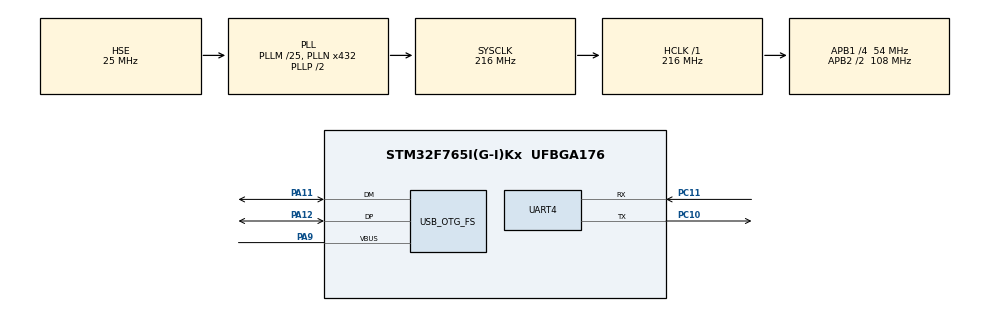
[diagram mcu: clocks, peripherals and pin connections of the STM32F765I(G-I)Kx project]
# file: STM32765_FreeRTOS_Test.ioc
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CORTEX_M7.ART_ACCELERATOR_ENABLE=0
CORTEX_M7.CPU_DCache=Disabled
CORTEX_M7.CPU_ICache=Disabled
CORTEX_M7.PREFETCH_ENABLE=0
CORTEX_M7.default_mode_Activation=0
FREERTOS.Tasks01=defaultTask,24,1024,StartDefaultTask,Default,NULL,Dynamic,NULL,NULL
FREERTOS.configCHECK_FOR_STACK_OVERFLOW=2
FREERTOS.configENABLE_BACKWARD_COMPATIBILITY=0
FREERTOS.configUSE_NEWLIB_REENTRANT=1
Mcu.Family=STM32F7
Mcu.Name=STM32F765I(G-I)Kx
Mcu.Package=UFBGA176
NVIC.OTG_FS_IRQn=true\:5\:0\:false\:false\:true\:true\:false\:true\:true
NVIC.PriorityGroup=NVIC_PRIORITYGROUP_4
NVIC.UART4_IRQn=true\:5\:0\:false\:false\:true\:true\:true\:true\:true
PA11.Mode=Device_Only
PA11.Signal=USB_OTG_FS_DM
PA12.Mode=Device_Only
PA12.Signal=USB_OTG_FS_DP
PA13.Mode=Serial_Wire
PA13.Signal=SYS_JTMS-SWDIO
PA14.Mode=Serial_Wire
PA14.Signal=SYS_JTCK-SWCLK
PA9.Mode=Activate_VBUS
PA9.Signal=USB_OTG_FS_VBUS
PC10.Mode=Asynchronous
PC10.Signal=UART4_TX
PC11.Mode=Asynchronous
PC11.Signal=UART4_RX
PH0/OSC_IN.Mode=HSE-External-Oscillator
PH0/OSC_IN.Signal=RCC_OSC_IN
PH1/OSC_OUT.Mode=HSE-External-Oscillator
PH1/OSC_OUT.Signal=RCC_OSC_OUT
ProjectManager.HeapSize=0x200
ProjectManager.StackSize=0x400
ProjectManager.TargetToolchain=STM32CubeIDE
RCC.AHBFreq_Value=216000000
RCC.APB1CLKDivider=RCC_HCLK_DIV4
RCC.APB1Freq_Value=54000000
RCC.APB1TimFreq_Value=108000000
RCC.APB2CLKDivider=RCC_HCLK_DIV2
RCC.APB2Freq_Value=108000000
RCC.APB2TimFreq_Value=216000000
RCC.CortexFreq_Value=216000000
RCC.HCLKFreq_Value=216000000
RCC.HSE_VALUE=25000000
RCC.HSI_VALUE=16000000
RCC.LSE_VALUE=32768
RCC.PLLM=25
RCC.PLLN=432
RCC.PLLQ=9
RCC.SYSCLKFreq_VALUE=216000000
RCC.SYSCLKSource=RCC_SYSCLKSOURCE_PLLCLK
RCC.USBFreq_Value=48000000
RCC.VCOOutputFreq_Value=432000000
USB_DEVICE.CLASS_NAME_FS=CDC
USB_DEVICE.VirtualMode-CDC_FS=Cdc
USB_DEVICE.VirtualModeFS=Cdc_FS
USB_OTG_FS.VirtualMode=Device_Only
VP_FREERTOS_VS_CMSIS_V2.Mode=CMSIS_V2
VP_USB_DEVICE_VS_USB_DEVICE_CDC_FS.Mode=CDC_FS
board=custom

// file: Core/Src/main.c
/* USER CODE BEGIN Header */
/**
  ******************************************************************************
  * @file           : main.c
  * @brief          : Main program body
  ******************************************************************************
  * @attention
  *
  * Copyright (c) 2022 STMicroelectronics.
  * All rights reserved.
  *
  * This software is licensed under terms that can be found in the LICENSE file
  * in the root directory of this software component.
  * If no LICENSE file comes with this software, it is provided AS-IS.
  *
  ******************************************************************************
  */
/* USER CODE END Header */
#include "main.h"
#include "cmsis_os.h"
#include "usb_device.h"

/* USER CODE BEGIN Includes */
#include <stdio.h>
#include <string.h>
#include "usbd_cdc_if.h"
#include "task.h"

/* USER CODE END Includes */

UART_HandleTypeDef huart4;

/* Definitions for defaultTask */
osThreadId_t defaultTaskHandle;
const osThreadAttr_t defaultTask_attributes = {
  .name = "defaultTask",
  .stack_size = 1024 * 4,
  .priority = (osPriority_t) osPriorityNormal,
};

void SystemClock_Config(void);
static void MX_GPIO_Init(void);
static void MX_UART4_Init(void);
void StartDefaultTask(void *argument);

/* USER CODE BEGIN 0 */

uint32_t Tick_GetCount (void) {
  return HAL_GetTick();
}

void printf_debug(const char *format, ...)
{
	  char message[300]={};
	  sprintf(message,format);
	  HAL_UART_Transmit(&huart4, (uint8_t*)message, strlen(message),10);
}

void vApplicationStackOverflowHook_callback(TaskHandle_t xTask, signed char *pcTaskName)
{
   /* Run time stack overflow checking is performed if
   configCHECK_FOR_STACK_OVERFLOW is defined to 1 or 2. This hook function is
   called if a stack overflow is detected. */

  char message[300]={};
  sprintf(message,"StackOverflow,in %s",pcTaskName);
  //sprintf(message,"StackOverflow,in %s,pcTaskName:%s",pcTaskName,*xTask->pcTaskName);
  //sprintf(message,"StackOverflow,in %s,pcTaskName:%s,pxStack:%d,pxTopOfStack:%d",pcTaskName,xTask->pcTaskName,xTask->pxStack,xTask->pxTopOfStack);
  HAL_UART_Transmit(&huart4, (uint8_t*)message, strlen(message),10);

  while(1)
  {

  }
}

static int HiMsgCounter=0;
static int HiMsgCounterTemp=0;
static int HiMsgCounterFreq=0;

void USB_Test_Send_Packet()
{
	static char HiMsg[1024]={};

	sprintf((char*)HiMsg,"%01000d\r\n",HiMsgCounter);
	CDC_Transmit_FS((uint8_t*)HiMsg,(uint16_t) 1024);
	HiMsgCounter++;
	HiMsgCounterTemp++;
}

#define  USB_TEST_CALLBACK_MODE
//#define USB_TEST_TASK_MODE

void CDC_TransmitCplt_FS_callback(uint8_t *Buf, uint32_t *Len, uint8_t epnum)
#ifdef USB_TEST_CALLBACK_MODE
{
	USB_Test_Send_Packet();
}
#else
{
}
#endif

osThreadId_t UsbTestTaskHandle;
const osThreadAttr_t UsbTestTask_attributes = {
  .name = "UsbTestTask",
  .stack_size = 2048 * 4,
  .priority = (osPriority_t) osPriorityNormal,
};

void test_USB(void* p)
{
  vTaskDelay(3000);

  printf_debug("Start USB test task.\n");

#ifdef USB_TEST_TASK_MODE
  for (;;)
  {
	  USB_Test_Send_Packet();

	  vTaskDelay(100);
  }
#endif

#ifdef USB_TEST_CALLBACK_MODE
  for (;;)
  {
	  vTaskDelay(100);
  }
#endif

  for (;;)
  {
	  vTaskDelay(100);
  }

  vTaskDelete(NULL);
}

/* USER CODE END 0 */

int main(void)
{

  /* MCU Configuration--------------------------------------------------------*/

  /* Reset of all peripherals, Initializes the Flash interface and the Systick. */
  HAL_Init();

  /* Configure the system clock */
  SystemClock_Config();

  /* Initialize all configured peripherals */
  MX_GPIO_Init();
  MX_UART4_Init();

  /* Init scheduler */
  osKernelInitialize();

  /* Create the thread(s) */
  /* creation of defaultTask */
  defaultTaskHandle = osThreadNew(StartDefaultTask, NULL, &defaultTask_attributes);

  /* USER CODE BEGIN RTOS_THREADS */
  /* add threads, ... */
  UsbTestTaskHandle = osThreadNew(test_USB, NULL, &UsbTestTask_attributes);
  /* USER CODE END RTOS_THREADS */

  /* Start scheduler */
  osKernelStart();

  /* We should never get here as control is now taken by the scheduler */
  /* Infinite loop */
  while (1)
  {

  }
}

void SystemClock_Config(void)
{
  RCC_OscInitTypeDef RCC_OscInitStruct = {0};
  RCC_ClkInitTypeDef RCC_ClkInitStruct = {0};

  /** Configure the main internal regulator output voltage
  */
  __HAL_RCC_PWR_CLK_ENABLE();
  __HAL_PWR_VOLTAGESCALING_CONFIG(PWR_REGULATOR_VOLTAGE_SCALE1);

  /** Initializes the RCC Oscillators according to the specified parameters
  * in the RCC_OscInitTypeDef structure.
  */
  RCC_OscInitStruct.OscillatorType = RCC_OSCILLATORTYPE_HSE;
  RCC_OscInitStruct.HSEState = RCC_HSE_ON;
  RCC_OscInitStruct.PLL.PLLState = RCC_PLL_ON;
  RCC_OscInitStruct.PLL.PLLSource = RCC_PLLSOURCE_HSE;
  RCC_OscInitStruct.PLL.PLLM = 25;
  RCC_OscInitStruct.PLL.PLLN = 432;
  RCC_OscInitStruct.PLL.PLLP = RCC_PLLP_DIV2;
  RCC_OscInitStruct.PLL.PLLQ = 9;
  RCC_OscInitStruct.PLL.PLLR = 2;
  if (HAL_RCC_OscConfig(&RCC_OscInitStruct) != HAL_OK)
  {
    Error_Handler();
  }

  /** Activate the Over-Drive mode
  */
  if (HAL_PWREx_EnableOverDrive() != HAL_OK)
  {
    Error_Handler();
  }

  /** Initializes the CPU, AHB and APB buses clocks
  */
  RCC_ClkInitStruct.ClockType = RCC_CLOCKTYPE_HCLK|RCC_CLOCKTYPE_SYSCLK
                              |RCC_CLOCKTYPE_PCLK1|RCC_CLOCKTYPE_PCLK2;
  RCC_ClkInitStruct.SYSCLKSource = RCC_SYSCLKSOURCE_PLLCLK;
  RCC_ClkInitStruct.AHBCLKDivider = RCC_SYSCLK_DIV1;
  RCC_ClkInitStruct.APB1CLKDivider = RCC_HCLK_DIV4;
  RCC_ClkInitStruct.APB2CLKDivider = RCC_HCLK_DIV2;

  if (HAL_RCC_ClockConfig(&RCC_ClkInitStruct, FLASH_LATENCY_7) != HAL_OK)
  {
    Error_Handler();
  }
}

static void MX_UART4_Init(void)
{

  huart4.Instance = UART4;
  huart4.Init.BaudRate = 115200;
  huart4.Init.WordLength = UART_WORDLENGTH_8B;
  huart4.Init.StopBits = UART_STOPBITS_1;
  huart4.Init.Parity = UART_PARITY_NONE;
  huart4.Init.Mode = UART_MODE_TX_RX;
  huart4.Init.HwFlowCtl = UART_HWCONTROL_NONE;
  huart4.Init.OverSampling = UART_OVERSAMPLING_16;
  huart4.Init.OneBitSampling = UART_ONE_BIT_SAMPLE_DISABLE;
  huart4.AdvancedInit.AdvFeatureInit = UART_ADVFEATURE_NO_INIT;
  if (HAL_UART_Init(&huart4) != HAL_OK)
  {
    Error_Handler();
  }
  /* USER CODE BEGIN UART4_Init 2 */

  char boot_message[300]={};
  sprintf(boot_message,"\r\nUART4 UP! %s %s GCC:%d.%d.%d RTOS:%s\r\n",__DATE__,__TIME__,__GNUC__,__GNUC_MINOR__,__GNUC_PATCHLEVEL__,tskKERNEL_VERSION_NUMBER);
  HAL_UART_Transmit(&huart4, (uint8_t*)boot_message, strlen(boot_message),10);

  /* USER CODE END UART4_Init 2 */

}

static void MX_GPIO_Init(void)
{

  /* GPIO Ports Clock Enable */
  __HAL_RCC_GPIOA_CLK_ENABLE();
  __HAL_RCC_GPIOC_CLK_ENABLE();
  __HAL_RCC_GPIOH_CLK_ENABLE();

}

void StartDefaultTask(void *argument)
{
  /* init code for USB_DEVICE */
  MX_USB_DEVICE_Init();
  /* USER CODE BEGIN 5 */
  /* Infinite loop */
  for(;;)
  {
    osDelay(1);

    static uint32_t last_message_sent;
    if((Tick_GetCount()-last_message_sent)>1000)
    {
    	if(HiMsgCounterTemp==0)
    	{
    		USB_Test_Send_Packet(); // kick start the transmissions!
    	}
    	else
    	{
        	last_message_sent=Tick_GetCount();
        	char boot_message[200]={};

        	sprintf(boot_message,"HiMsgCounter:%08d,HiMsgCounterTemp=%08d\r\n",HiMsgCounter,HiMsgCounterTemp);
        	HAL_UART_Transmit(&huart4, (uint8_t*)boot_message, strlen(boot_message),10);

        	HiMsgCounterFreq=HiMsgCounterTemp;
        	HiMsgCounterTemp=0;
    	}
    }

  }
  /* USER CODE END 5 */
}

void Error_Handler(void)
{
  __disable_irq();
  while (1)
  {
  }
}

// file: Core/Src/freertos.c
/* USER CODE BEGIN Header */
/**
  ******************************************************************************
  * File Name          : freertos.c
  * Description        : Code for freertos applications
  ******************************************************************************
  * @attention
  *
  * Copyright (c) 2022 STMicroelectronics.
  * All rights reserved.
  *
  * This software is licensed under terms that can be found in the LICENSE file
  * in the root directory of this software component.
  * If no LICENSE file comes with this software, it is provided AS-IS.
  *
  ******************************************************************************
  */
/* USER CODE END Header */

#include "FreeRTOS.h"
#include "task.h"
#include "main.h"

/* Hook prototypes */
void vApplicationStackOverflowHook(TaskHandle_t xTask, signed char *pcTaskName);

extern void vApplicationStackOverflowHook_callback(TaskHandle_t xTask, signed char *pcTaskName);
/* USER CODE BEGIN 4 */
void vApplicationStackOverflowHook(TaskHandle_t xTask, signed char *pcTaskName)
{
   /* Run time stack overflow checking is performed if
   configCHECK_FOR_STACK_OVERFLOW is defined to 1 or 2. This hook function is
   called if a stack overflow is detected. */
   vApplicationStackOverflowHook_callback(xTask,pcTaskName);
}

/* USER CODE END 4 */
